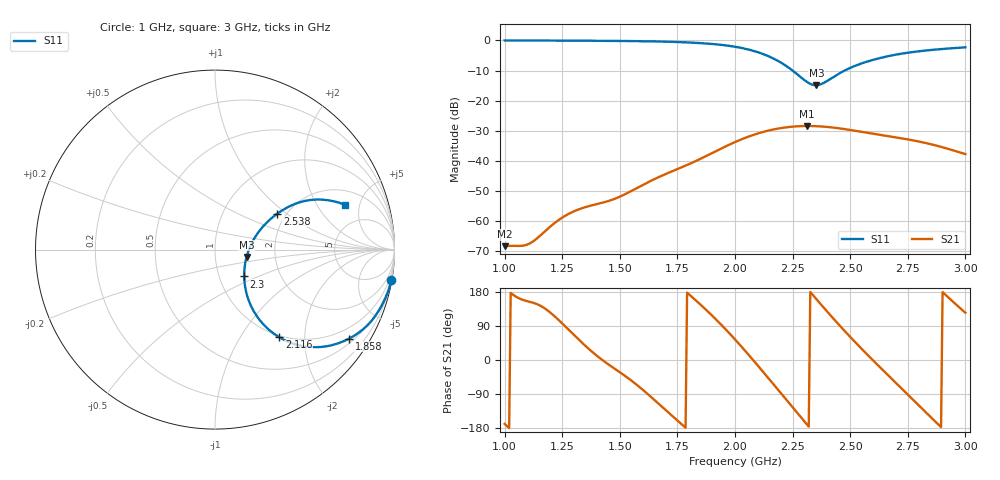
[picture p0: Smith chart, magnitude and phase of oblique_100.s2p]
! TOUCHSTONE file generated by CST MICROWAVE STUDIO
! Date and time: Tue Mar 18 00:01:46 2025
! Project name: oblique.cst
! Parameters = {Tilt=30; Fracture=1; B=12.5; D=160; F=25; Feed=2.85625; L=100; M=10; R=0.384908; S=2; Theta=90; length=57.125; wave=114.25}
! Header version: 2024
! Port assignment regex: !\s*Touchstone port\s*([0-9]+)\s*=\s*(CST MWS port|CST DES external port|CST DES block port)\s*(.+)\s* \(\"(.*)\"\)(\s*mode\s*([0-9]+))?.*
! Touchstone port assignment:
! Touchstone port 1 = CST MWS port 1 ("")
! Touchstone port 2 = CST MWS port 2 ("")
# GHz S DB R 50
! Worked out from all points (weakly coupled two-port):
!   304 points, 1 GHz to 3 GHz, reference 50 ohm
!   highest |S21| = -28.40 dB at 2.314 GHz (marker M1); lowest = -68.3 dB at 1 GHz (marker M2)
!   lowest |S11| = -14.9 dB at 2.353 GHz (marker M3), VSWR 1.44, Z = 71.1 - j5.96 ohm
!   |S11| at or under -10 dB: 2.25 GHz to 2.476 GHz (226.4 MHz wide, 9.58 % of centre)
!   S12 and S22 are empty: the file has one direction only
!   S11 on the Smith chart (normalised r, x): 1 GHz: 0, -12; 1.858 GHz: 0.63, -3.21; 2.116 GHz: 0.97, -1.50; 2.3 GHz: 1.31, -0.41; 2.538 GHz: 1.80, +0.86; 3 GHz: 3.01, +3.62
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1  -0.02 -9.8  -68.28 -168.5  -200.00 0.0  -200.00 0.0
1.07261  -0.03 -10.8  -68.17 160.1  -200.00 0.0  -200.00 0.0
1.10561  -0.03 -11.3  -67.51 154.1  -200.00 0.0  -200.00 0.0
1.13201  -0.04 -11.7  -66.24 149.5  -200.00 0.0  -200.00 0.0
1.24422  -0.06 -13.5  -59.09 100.0  -200.00 0.0  -200.00 0.0
1.33663  -0.10 -15.2  -55.66 45.2  -200.00 0.0  -200.00 0.0
1.48185  -0.17 -18.5  -52.45 -24.7  -200.00 0.0  -200.00 0.0
1.66667  -0.36 -24.2  -45.44 -114.4  -200.00 0.0  -200.00 0.0
1.85809  -0.94 -33.5  -39.00 141.8  -200.00 0.0  -200.00 0.0
2.0033  -2.15 -44.2  -33.63 52.1  -200.00 0.0  -200.00 0.0
2.11551  -4.35 -53.7  -30.52 -26.6  -200.00 0.0  -200.00 0.0
2.20792  -7.77 -57.9  -29.00 -94.0  -200.00 0.0  -200.00 0.0
2.30033  -13.11 -42.6  -28.41 -161.5  -200.00 0.0  -200.00 0.0
2.31353  -13.84 -36.6  -28.40 -171.0  -200.00 0.0  -200.00 0.0
2.33993  -14.77 -21.4  -28.43 170.0  -200.00 0.0  -200.00 0.0
2.35314  -14.87 -13.0  -28.47 160.6  -200.00 0.0  -200.00 0.0
2.38614  -14.06 5.7  -28.62 137.4  -200.00 0.0  -200.00 0.0
2.43894  -11.59 22.2  -29.04 101.2  -200.00 0.0  -200.00 0.0
2.53795  -7.95 30.0  -30.19 36.8  -200.00 0.0  -200.00 0.0
2.66997  -5.16 28.9  -31.84 -43.5  -200.00 0.0  -200.00 0.0
2.83498  -3.30 23.8  -34.17 -142.2  -200.00 0.0  -200.00 0.0
3  -2.31 18.9  -37.73 124.6  -200.00 0.0  -200.00 0.0
